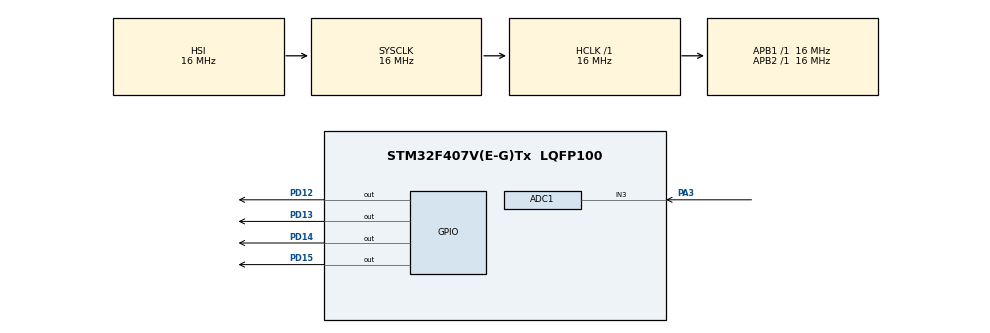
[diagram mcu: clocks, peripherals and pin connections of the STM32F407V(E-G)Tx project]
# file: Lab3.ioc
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ADC1.Channel-0\#ChannelRegularConversion=ADC_CHANNEL_3
ADC1.ClockPrescaler=ADC_CLOCK_SYNC_PCLK_DIV8
ADC1.NbrOfConversionFlag=1
ADC1.Rank-0\#ChannelRegularConversion=1
ADC1.SamplingTime-0\#ChannelRegularConversion=ADC_SAMPLETIME_3CYCLES
ADC1.master=1
Mcu.Family=STM32F4
Mcu.Name=STM32F407V(E-G)Tx
Mcu.Package=LQFP100
NVIC.PriorityGroup=NVIC_PRIORITYGROUP_4
PA3.Signal=ADCx_IN3
PD12.Signal=GPIO_Output
PD13.Signal=GPIO_Output
PD14.Signal=GPIO_Output
PD15.Signal=GPIO_Output
ProjectManager.HeapSize=0x200
ProjectManager.StackSize=0x400
ProjectManager.TargetToolchain=STM32CubeIDE
RCC.AHBFreq_Value=16000000
RCC.APB1Freq_Value=16000000
RCC.APB2Freq_Value=16000000
RCC.CortexFreq_Value=16000000
RCC.HSE_VALUE=25000000
RCC.HSI_VALUE=16000000
RCC.LSE_VALUE=32768
RCC.SYSCLKFreq_VALUE=16000000
RCC.VCOOutputFreq_Value=192000000
SH.ADCx_IN3.0=ADC1_IN3,IN3
board=custom

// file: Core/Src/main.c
/* USER CODE BEGIN Header */
/**
  ******************************************************************************
  * @file           : main.c
  * @brief          : Main program body
  ******************************************************************************
  * @attention
  *
  * Copyright (c) 2026 STMicroelectronics.
  * All rights reserved.
  *
  * This software is licensed under terms that can be found in the LICENSE file
  * in the root directory of this software component.
  * If no LICENSE file comes with this software, it is provided AS-IS.
  *
  ******************************************************************************
  */
/* USER CODE END Header */
#include "main.h"

ADC_HandleTypeDef hadc1;

void SystemClock_Config(void);
static void MX_GPIO_Init(void);
static void MX_ADC1_Init(void);

int main(void)
{

  /* USER CODE BEGIN 1 */
  uint32_t adcValue = 0;
  #ifdef DEBUG
	uint32_t adcResult = 0;
	uint32_t i = 0;
  #endif
  volatile HAL_StatusTypeDef adcPoolResult;
  /* USER CODE END 1 */

  /* MCU Configuration--------------------------------------------------------*/

  /* Reset of all peripherals, Initializes the Flash interface and the Systick. */
  HAL_Init();

  /* Configure the system clock */
  SystemClock_Config();

  /* Initialize all configured peripherals */
  MX_GPIO_Init();
  MX_ADC1_Init();

  /* Infinite loop */
  /* USER CODE BEGIN WHILE */
  while (1)
    {
  #ifdef DEBUG
  	  while (i!=128)
  	  {
  		  HAL_ADC_Start(&hadc1);
  		  adcPoolResult = HAL_ADC_PollForConversion(&hadc1, 10);

  		  if (adcPoolResult == HAL_OK){
  			  adcValue = HAL_ADC_GetValue(&hadc1);
  			  adcResult=adcResult+adcValue;
  			  i=i+1;
  		  }else{
  			  continue;
  		  }

  	  }
  	  adcResult=adcResult>>7;
  	  float volatge = (adcResult*3.3f)/4095.0f;
  #endif
        HAL_ADC_Start(&hadc1);
        adcPoolResult = HAL_ADC_PollForConversion(&hadc1, 10);

        if (adcPoolResult == HAL_OK)
            adcValue = HAL_ADC_GetValue(&hadc1);
        else
        {
            continue;
        }

        if (adcValue < 1024)
        {
            HAL_GPIO_WritePin(GPIOD, GPIO_PIN_15, GPIO_PIN_SET);
            HAL_GPIO_WritePin(GPIOD, GPIO_PIN_14, GPIO_PIN_RESET);
            HAL_GPIO_WritePin(GPIOD, GPIO_PIN_13, GPIO_PIN_RESET);
            HAL_GPIO_WritePin(GPIOD, GPIO_PIN_12, GPIO_PIN_RESET);
        }
        else if ((adcValue >= 1024) && (adcValue < 2048))
        {
            HAL_GPIO_WritePin(GPIOD, GPIO_PIN_15, GPIO_PIN_RESET);
            HAL_GPIO_WritePin(GPIOD, GPIO_PIN_14, GPIO_PIN_SET);
            HAL_GPIO_WritePin(GPIOD, GPIO_PIN_13, GPIO_PIN_RESET);
            HAL_GPIO_WritePin(GPIOD, GPIO_PIN_12, GPIO_PIN_RESET);
        }
        else if ((adcValue >= 2048) && (adcValue < 3072))
        {
            HAL_GPIO_WritePin(GPIOD, GPIO_PIN_15, GPIO_PIN_RESET);
            HAL_GPIO_WritePin(GPIOD, GPIO_PIN_14, GPIO_PIN_RESET);
            HAL_GPIO_WritePin(GPIOD, GPIO_PIN_13, GPIO_PIN_SET);
            HAL_GPIO_WritePin(GPIOD, GPIO_PIN_12, GPIO_PIN_RESET);
        }
        else if ((adcValue >= 3072) && (adcValue <= 4095))
        {
            HAL_GPIO_WritePin(GPIOD, GPIO_PIN_15, GPIO_PIN_RESET);
            HAL_GPIO_WritePin(GPIOD, GPIO_PIN_14, GPIO_PIN_RESET);
            HAL_GPIO_WritePin(GPIOD, GPIO_PIN_13, GPIO_PIN_RESET);
            HAL_GPIO_WritePin(GPIOD, GPIO_PIN_12, GPIO_PIN_SET);
        }
        else
        {
            HAL_GPIO_WritePin(GPIOD, GPIO_PIN_15, GPIO_PIN_SET);
            HAL_GPIO_WritePin(GPIOD, GPIO_PIN_14, GPIO_PIN_SET);
            HAL_GPIO_WritePin(GPIOD, GPIO_PIN_13, GPIO_PIN_SET);
            HAL_GPIO_WritePin(GPIOD, GPIO_PIN_12, GPIO_PIN_SET);
        }
      /* USER CODE END WHILE */

    }
  }
void SystemClock_Config(void)
{
  RCC_OscInitTypeDef RCC_OscInitStruct = {0};
  RCC_ClkInitTypeDef RCC_ClkInitStruct = {0};

  /** Configure the main internal regulator output voltage
  */
  __HAL_RCC_PWR_CLK_ENABLE();
  __HAL_PWR_VOLTAGESCALING_CONFIG(PWR_REGULATOR_VOLTAGE_SCALE1);

  /** Initializes the RCC Oscillators according to the specified parameters
  * in the RCC_OscInitTypeDef structure.
  */
  RCC_OscInitStruct.OscillatorType = RCC_OSCILLATORTYPE_HSI;
  RCC_OscInitStruct.HSIState = RCC_HSI_ON;
  RCC_OscInitStruct.HSICalibrationValue = RCC_HSICALIBRATION_DEFAULT;
  RCC_OscInitStruct.PLL.PLLState = RCC_PLL_NONE;
  if (HAL_RCC_OscConfig(&RCC_OscInitStruct) != HAL_OK)
  {
    Error_Handler();
  }

  /** Initializes the CPU, AHB and APB buses clocks
  */
  RCC_ClkInitStruct.ClockType = RCC_CLOCKTYPE_HCLK|RCC_CLOCKTYPE_SYSCLK
                              |RCC_CLOCKTYPE_PCLK1|RCC_CLOCKTYPE_PCLK2;
  RCC_ClkInitStruct.SYSCLKSource = RCC_SYSCLKSOURCE_HSI;
  RCC_ClkInitStruct.AHBCLKDivider = RCC_SYSCLK_DIV1;
  RCC_ClkInitStruct.APB1CLKDivider = RCC_HCLK_DIV1;
  RCC_ClkInitStruct.APB2CLKDivider = RCC_HCLK_DIV1;

  if (HAL_RCC_ClockConfig(&RCC_ClkInitStruct, FLASH_LATENCY_0) != HAL_OK)
  {
    Error_Handler();
  }
}

static void MX_ADC1_Init(void)
{

  ADC_ChannelConfTypeDef sConfig = {0};

  /** Configure the global features of the ADC (Clock, Resolution, Data Alignment and number of conversion)
  */
  hadc1.Instance = ADC1;
  hadc1.Init.ClockPrescaler = ADC_CLOCK_SYNC_PCLK_DIV8;
  hadc1.Init.Resolution = ADC_RESOLUTION_12B;
  hadc1.Init.ScanConvMode = DISABLE;
  hadc1.Init.ContinuousConvMode = DISABLE;
  hadc1.Init.DiscontinuousConvMode = DISABLE;
  hadc1.Init.ExternalTrigConvEdge = ADC_EXTERNALTRIGCONVEDGE_NONE;
  hadc1.Init.ExternalTrigConv = ADC_SOFTWARE_START;
  hadc1.Init.DataAlign = ADC_DATAALIGN_RIGHT;
  hadc1.Init.NbrOfConversion = 1;
  hadc1.Init.DMAContinuousRequests = DISABLE;
  hadc1.Init.EOCSelection = ADC_EOC_SINGLE_CONV;
  if (HAL_ADC_Init(&hadc1) != HAL_OK)
  {
    Error_Handler();
  }

  /** Configure for the selected ADC regular channel its corresponding rank in the sequencer and its sample time.
  */
  sConfig.Channel = ADC_CHANNEL_3;
  sConfig.Rank = 1;
  sConfig.SamplingTime = ADC_SAMPLETIME_3CYCLES;
  if (HAL_ADC_ConfigChannel(&hadc1, &sConfig) != HAL_OK)
  {
    Error_Handler();
  }

}

static void MX_GPIO_Init(void)
{
  GPIO_InitTypeDef GPIO_InitStruct = {0};

  /* GPIO Ports Clock Enable */
  __HAL_RCC_GPIOA_CLK_ENABLE();
  __HAL_RCC_GPIOD_CLK_ENABLE();

  /*Configure GPIO pin Output Level */
  HAL_GPIO_WritePin(GPIOD, GPIO_PIN_12|GPIO_PIN_13|GPIO_PIN_14|GPIO_PIN_15, GPIO_PIN_RESET);

  /*Configure GPIO pins : PD12 PD13 PD14 PD15 */
  GPIO_InitStruct.Pin = GPIO_PIN_12|GPIO_PIN_13|GPIO_PIN_14|GPIO_PIN_15;
  GPIO_InitStruct.Mode = GPIO_MODE_OUTPUT_PP;
  GPIO_InitStruct.Pull = GPIO_NOPULL;
  GPIO_InitStruct.Speed = GPIO_SPEED_FREQ_LOW;
  HAL_GPIO_Init(GPIOD, &GPIO_InitStruct);

}

void Error_Handler(void)
{
  __disable_irq();
  while (1)
  {
  }
}
